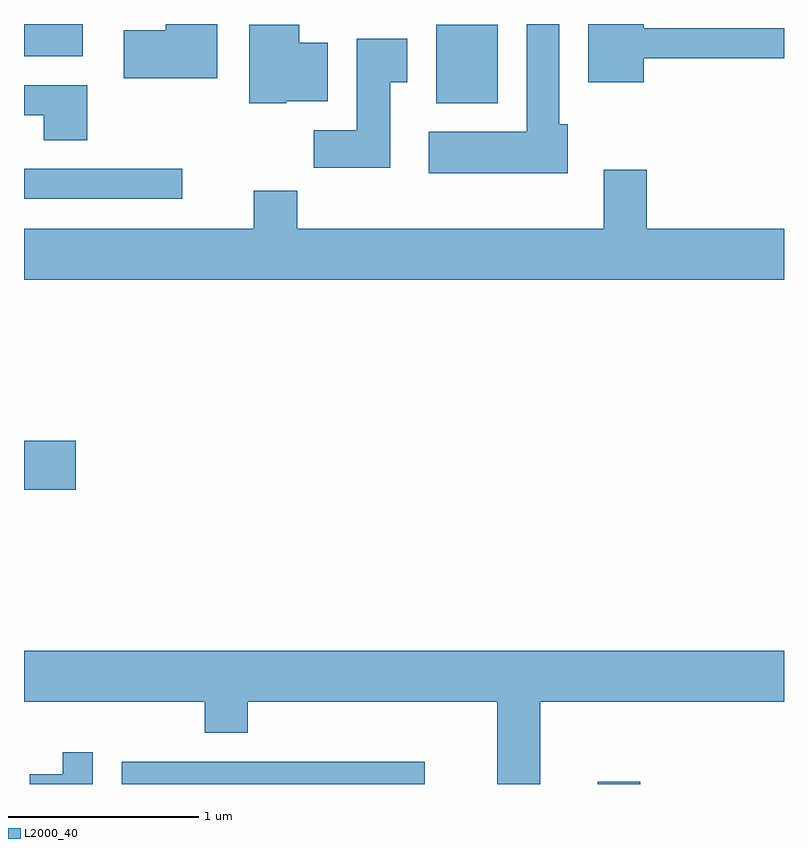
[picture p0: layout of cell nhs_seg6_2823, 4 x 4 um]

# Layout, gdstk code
import gdstk
lib = gdstk.Library(unit=1e-6, precision=1e-09)
def R(c, l, rs):  # rectangles x0, y0, x1, y1
    for r in rs: c.add(gdstk.rectangle(r[:2], r[2:], *l))
def P(c, l, *ps):  # polygons
    for p in ps: c.add(gdstk.Polygon(p, *l))
L2000_40 = (2000, 40)

nhs_seg6_2823 = lib.new_cell('nhs_seg6_2823')
R(nhs_seg6_2823, L2000_40, [(270.126,1656.162,271.719,1656.279), (272.631,1656.162,272.854,1656.174), (269.611,1657.711,269.884,1657.969), (269.611,1659.241,270.443,1659.399), (271.781,1659.746,272.104,1660.159), (269.611,1659.991,269.919,1660.162)])
P(nhs_seg6_2823, L2000_40, [(272.474,1659.634),(272.429,1659.634),(272.429,1660.162),(272.256,1660.162),(272.256,1659.594),(271.741,1659.594),(271.741,1659.376),(272.474,1659.376)],
  [(272.874,1659.981),(273.611,1659.981),(273.611,1660.139),(272.874,1660.139),(272.874,1660.162),(272.581,1660.162),(272.581,1659.856),(272.874,1659.856)],
  [(270.629,1660.162),(270.356,1660.162),(270.356,1660.129),(270.136,1660.129),(270.136,1659.876),(270.629,1659.876)],
  [(270.99,1659.756),(271.209,1659.756),(271.209,1660.064),(271.059,1660.064),(271.059,1660.159),(270.796,1660.159),(270.796,1659.746),(270.99,1659.746)],
  [(271.539,1659.856),(271.629,1659.856),(271.629,1660.084),(271.361,1660.084),(271.361,1659.604),(271.136,1659.604),(271.136,1659.406),(271.539,1659.406)],
  [(269.944,1659.839),(269.611,1659.839),(269.611,1659.681),(269.716,1659.681),(269.716,1659.551),(269.944,1659.551)],
  [(273.611,1659.084),(272.889,1659.084),(272.889,1659.394),(272.661,1659.394),(272.661,1659.084),(271.049,1659.084),(271.049,1659.284),(270.821,1659.284),(270.821,1659.084),(269.611,1659.084),(269.611,1658.816),(273.611,1658.816)],
  [(272.329,1656.596),(273.611,1656.596),(273.611,1656.864),(269.611,1656.864),(269.611,1656.596),(270.561,1656.596),(270.561,1656.431),(270.789,1656.431),(270.789,1656.596),(272.101,1656.596),(272.101,1656.162),(272.329,1656.162)],
  [(269.974,1656.328),(269.816,1656.328),(269.816,1656.214),(269.641,1656.214),(269.641,1656.162),(269.974,1656.162)])

lib.write_gds('nhs_seg6_2823.gds')
